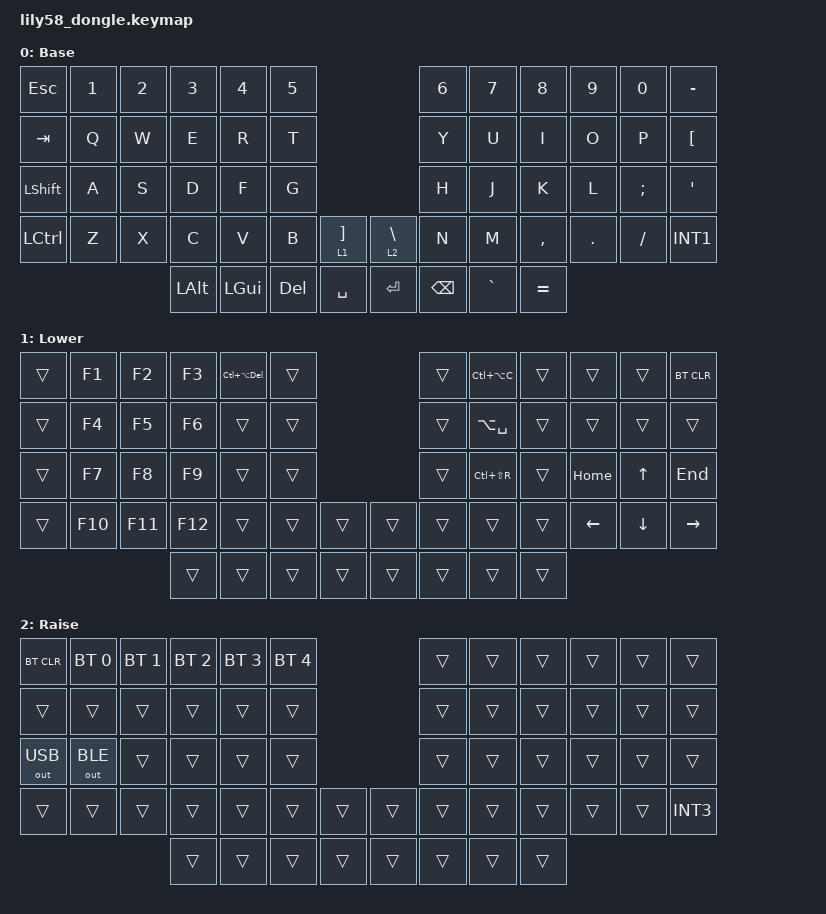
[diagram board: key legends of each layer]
/*
 * Copyright (c) 2020 The ZMK Contributors
 *
 * SPDX-License-Identifier: MIT
 */

#include <behaviors.dtsi>
#include <dt-bindings/zmk/keys.h>
#include <dt-bindings/zmk/bt.h>
#include <dt-bindings/zmk/outputs.h>

/ {
    keymap {
        compatible = "zmk,keymap";

        default_layer {
            display-name = "Base";
            bindings = <
&kp ESC    &kp N1  &kp N2  &kp N3   &kp N4    &kp N5                              &kp N6   &kp N7    &kp N8    &kp N9    &kp N0    &kp MINUS
&kp TAB    &kp Q   &kp W   &kp E    &kp R     &kp T                               &kp Y    &kp U     &kp I     &kp O     &kp P     &kp LBKT
&kp LSHFT  &kp A   &kp S   &kp D    &kp F     &kp G                               &kp H    &kp J     &kp K     &kp L     &kp SEMI  &kp SQT
&kp LCTRL  &kp Z   &kp X   &kp C    &kp V     &kp B    &lt 1 RBKT    &lt 2 BSLH   &kp N    &kp M     &kp COMMA &kp DOT   &kp FSLH  &kp INT1
                           &kp LALT &kp LGUI  &kp DEL  &kp SPACE     &kp RET      &kp BSPC &kp GRAVE &kp EQUAL
            >;
        };

        lower_layer {
            display-name = "Lower";
            bindings = <
&trans  &kp F1   &kp F2   &kp F3   &kp LC(LA(DEL))  &trans                           &trans  &kp LC(LA(C))  &trans  &trans     &trans     &bt BT_CLR
&trans  &kp F4   &kp F5   &kp F6   &trans           &trans                           &trans  &kp LA(SPACE)  &trans  &trans     &trans     &trans
&trans  &kp F7   &kp F8   &kp F9   &trans           &trans                           &trans  &kp LC(LS(R))  &trans  &kp HOME   &kp UP     &kp END
&trans  &kp F10  &kp F11  &kp F12  &trans           &trans  &trans         &trans    &trans  &trans         &trans  &kp LEFT   &kp DOWN   &kp RIGHT
                          &trans   &trans           &trans  &trans         &trans    &trans  &trans         &trans
            >;
        };

        raise_layer {
            display-name = "Raise";
            bindings = <
&bt BT_CLR   &bt BT_SEL 0  &bt BT_SEL 1  &bt BT_SEL 2  &bt BT_SEL 3  &bt BT_SEL 4              &trans &trans &trans &trans &trans &trans
&trans       &trans        &trans        &trans        &trans        &trans                    &trans &trans &trans &trans &trans &trans
&out OUT_USB &out OUT_BLE  &trans        &trans        &trans        &trans                    &trans &trans &trans &trans &trans &trans
&trans       &trans        &trans        &trans        &trans        &trans  &trans    &trans  &trans &trans &trans &trans &trans &kp INT3
                                         &trans        &trans        &trans  &trans    &trans  &trans &trans &trans
            >;
        };
    };
};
